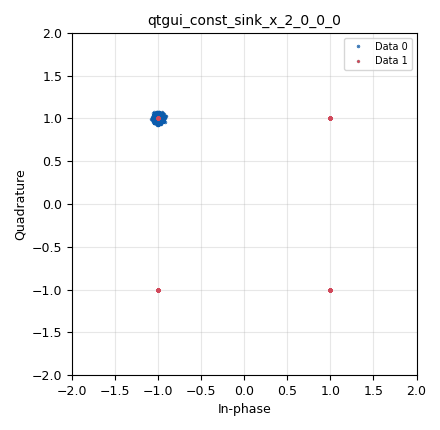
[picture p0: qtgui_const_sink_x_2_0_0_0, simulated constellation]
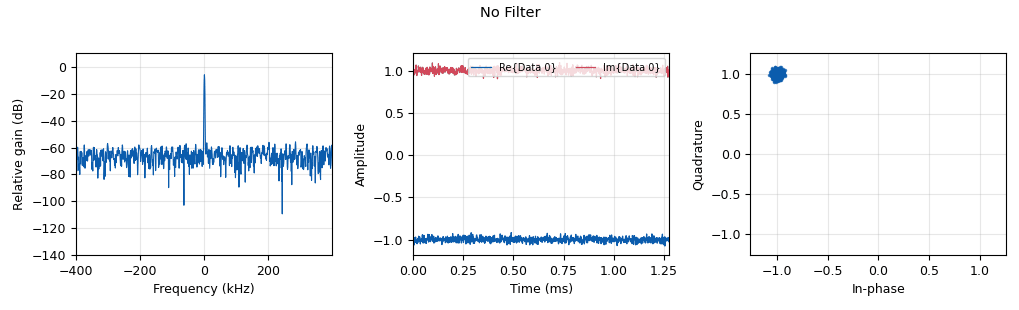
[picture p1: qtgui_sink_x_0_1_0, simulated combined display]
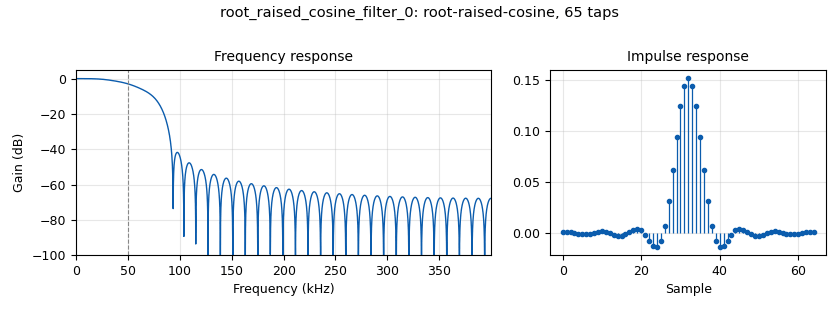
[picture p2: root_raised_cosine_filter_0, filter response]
options:
  parameters:
    author: ms
    generate_options: qt_gui
    id: QPSKDemo
    output_language: python
    title: QPSK demo
  states: {}

blocks:
- name: N_sample_symb
  id: variable
  parameters:
    value: '8'
  states: {}
- name: const_decode
  id: variable_constellation
  parameters:
    const_points: const_encode
    dims: '1'
    normalization: digital.constellation.AMPLITUDE_NORMALIZATION
    precision: '8'
    rot_sym: '2'
    sym_map: symbol_map_decode
    type: calcdist
  states: {}
- name: const_encode
  id: variable
  parameters:
    comment: QPSK
    value: (-1-1j, -1+1j, 1-1j, 1+1j)
  states: {}
- name: const_encode
  id: variable
  parameters:
    comment: 16-QAM
    value: '[(-1-1j), (-1-.33j), (-1+1j), (-1+.33j), (-.33-1j), (-.33-.33j), (-.33+1j), (-.33+.33j), (1-1j), (1-.33j), (1+1j), (1+.33j), (.33-1j), (.33-.33j), (.33+1j), (.33+.33j)]'
  states: {state: disabled}
- name: df
  id: variable_qtgui_range
  parameters:
    start: '-.05'
    step: '0.005'
    stop: '.05'
    value: '0.0'
  states: {}
- name: dp
  id: variable_qtgui_range
  parameters:
    start: '-1*cmath.pi'
    step: '0.1'
    stop: cmath.pi
    value: '0.0'
  states: {}
- name: nbr_bit_symbol
  id: variable
  parameters:
    comment: QPSK
    value: '2'
  states: {}
- name: nbr_bit_symbol
  id: variable
  parameters:
    comment: 16-QAM
    value: '4'
  states: {state: disabled}
- name: noise
  id: variable_qtgui_range
  parameters:
    start: '0'
    step: '0.005'
    stop: '1'
    value: '0.04'
  states: {}
- name: samp_rate
  id: variable
  parameters:
    value: '800000'
  states: {}
- name: send
  id: variable_qtgui_chooser
  parameters:
    gui_hint: 0,0,2,2
    label: Bytes send
    label0: '(0x0,0x0): 00000000 00000000'
    label1: '(0x55,0x55): 01010101 01010101'
    label2: '(0xAA,0xAA): 10101010 10101010'
    label3: '(0xFF,0xFF): 11111111 11111111'
    label4: random
    num_opts: '5'
    option0: (0,0)
    option1: (85,85)
    option2: (170,170)
    option3: (255,255)
    option4: '[random.randrange(0,255) for i in range(1000)]'
    type: raw
    value: (85,85)
    widget: radio_buttons
  states: {}
- name: symbol_map_decode
  id: variable
  parameters:
    comment: QPSK
    value: '[0, 1, 2, 3]'
  states: {}
- name: symbol_map_decode
  id: variable
  parameters:
    comment: 16-QAM
    value: '[0, 1, 2, 3, 4, 5, 6, 7, 8, 9, 10, 11, 12, 13, 14, 15]'
  states: {state: disabled}
- name: analog_noise_source_x_0
  id: analog_noise_source_x
  parameters:
    amp: noise
    noise_type: analog.GR_GAUSSIAN
    seed: '0'
    type: complex
  states: {}
- name: blocks_add_xx_0
  id: blocks_add_xx
  parameters:
    type: complex
  states: {}
- name: blocks_file_sink_0
  id: blocks_file_sink
  parameters:
    file: /home/murat/out.bin
    type: byte
  states: {state: disabled}
- name: blocks_null_sink_0
  id: blocks_null_sink
  parameters:
    type: byte
  states: {}
- name: blocks_pack_k_bits_bb_0
  id: blocks_pack_k_bits_bb
  parameters:
    k: '8'
  states: {}
- name: blocks_packed_to_unpacked_xx_0
  id: blocks_packed_to_unpacked_xx
  parameters:
    bits_per_chunk: nbr_bit_symbol
    endianness: gr.GR_MSB_FIRST
    type: byte
  states: {}
- name: blocks_repeat_0_0
  id: blocks_repeat
  parameters:
    interp: N_sample_symb
    type: complex
  states: {}
- name: blocks_throttle_0
  id: blocks_throttle
  parameters:
    samples_per_second: samp_rate
    type: byte
  states: {}
- name: blocks_uchar_to_float_0
  id: blocks_uchar_to_float
  parameters: {}
  states: {state: disabled}
- name: blocks_vector_source_x_0
  id: blocks_vector_source_x
  parameters:
    repeat: 'True'
    type: complex
    vector: const_encode
  states: {}
- name: blocks_vector_source_x_1_0
  id: blocks_vector_source_x
  parameters:
    repeat: 'True'
    type: byte
    vector: send
  states: {}
- name: digital_binary_slicer_fb_0
  id: digital_binary_slicer_fb
  parameters: {}
  states: {}
- name: digital_chunks_to_symbols_xx_0
  id: digital_chunks_to_symbols_xx
  parameters:
    dimension: '1'
    in_type: byte
    out_type: complex
    symbol_table: const_encode
  states: {}
- name: digital_constellation_soft_decoder_cf_0
  id: digital_constellation_soft_decoder_cf
  parameters:
    constellation: const_decode
    npwr: '-1'
  states: {}
- name: digital_costas_loop_cc_0
  id: digital_costas_loop_cc
  parameters:
    order: 2**nbr_bit_symbol
    w: '0.015'
  states: {}
- name: digital_symbol_sync_xx_0
  id: digital_symbol_sync_xx
  parameters:
    constellation: const_decode
    damping: '1.0'
    loop_bw: '0.45'
    max_dev: '1.5'
    osps: '1'
    resamp_type: digital.IR_MMSE_8TAP
    sps: N_sample_symb
    ted_gain: '1'
    ted_type: digital.TED_MUELLER_AND_MULLER
    type: cc
  states: {}
- name: freq_xlating_fir_filter_xxx_0
  id: freq_xlating_fir_filter_xxx
  parameters:
    center_freq: '-100e3'
    comment: Carrier 100kHz
    decim: '1'
    samp_rate: samp_rate
    taps: '1'
    type: ccc
  states: {}
- name: freq_xlating_fir_filter_xxx_1
  id: freq_xlating_fir_filter_xxx
  parameters:
    center_freq: 100e3+df
    comment: Baseband
    decim: '1'
    samp_rate: samp_rate
    taps: cmath.exp(1j*dp)
    type: ccc
  states: {}
- name: import_0
  id: import
  parameters:
    imports: import random
  states: {}
- name: import_0_0
  id: import
  parameters:
    imports: import cmath
  states: {}
- name: qtgui_const_sink_x_2_0_0
  id: qtgui_const_sink_x
  parameters:
    gui_hint: 0,2,2,4
    size: '1024'
    type: complex
  states: {state: disabled}
- name: qtgui_const_sink_x_2_0_0_0
  id: qtgui_const_sink_x
  parameters:
    gui_hint: 0,10,2,4
    nconnections: '2'
    size: '1024'
    type: complex
  states: {}
- name: qtgui_sink_x_0
  id: qtgui_sink_x
  parameters:
    bw: samp_rate
    fc: '0'
    fftsize: '1024'
    gui_hint: 0,2,2,4
    name: '"No Filter"'
    plotwaterfall: 'False'
    type: complex
  states: {}
- name: qtgui_sink_x_0_0
  id: qtgui_sink_x
  parameters:
    bw: samp_rate
    fc: '0'
    fftsize: '1024'
    gui_hint: 0,6,2,4
    name: '"Root raised Cosine Filter"'
    plotconst: 'False'
    plotwaterfall: 'False'
    type: complex
  states: {state: disabled}
- name: qtgui_sink_x_0_0_0
  id: qtgui_sink_x
  parameters:
    bw: samp_rate
    fc: '0'
    fftsize: '1024'
    gui_hint: 0,10,2,4
    name: ''
    plotconst: 'False'
    plotwaterfall: 'False'
    type: complex
  states: {state: disabled}
- name: qtgui_sink_x_0_1_0
  id: qtgui_sink_x
  parameters:
    bw: samp_rate
    fc: '0'
    fftsize: '1024'
    gui_hint: 0,6,2,4
    name: '"No Filter"'
    plotwaterfall: 'False'
    type: complex
  states: {}
- name: qtgui_time_sink_x_0
  id: qtgui_time_sink_x
  parameters:
    gui_hint: 0,2,2,4
    marker1: '0'
    size: '10'
    srate: samp_rate
    type: float
    ymax: '16'
    ymin: '0'
  states: {state: disabled}
- name: qtgui_time_sink_x_0_0
  id: qtgui_time_sink_x
  parameters:
    gui_hint: 0,6,2,4
    marker1: '1'
    marker2: '0'
    size: '10'
    srate: samp_rate
    type: complex
    ymax: '2'
    ymin: '-2'
  states: {state: disabled}
- name: root_raised_cosine_filter_0
  id: root_raised_cosine_filter
  parameters:
    alpha: '0.8'
    decim: '1'
    gain: '1.0'
    interp: '8'
    ntaps: '64'
    samp_rate: samp_rate
    sym_rate: 1/(N_sample_symb/samp_rate)
    type: fir_filter_ccf
  states: {}
- name: virtual_sink_0
  id: virtual_sink
  parameters:
    comment: transmission
    stream_id: transmission
  states: {}
- name: virtual_source_0
  id: virtual_source
  parameters:
    comment: Reception
    stream_id: transmission
  states: {}

connections:
- [analog_noise_source_x_0, '0', blocks_add_xx_0, '1']
- [blocks_add_xx_0, '0', qtgui_sink_x_0_0_0, '0']
- [blocks_add_xx_0, '0', virtual_sink_0, '0']
- [blocks_pack_k_bits_bb_0, '0', blocks_file_sink_0, '0']
- [blocks_pack_k_bits_bb_0, '0', blocks_null_sink_0, '0']
- [blocks_packed_to_unpacked_xx_0, '0', blocks_uchar_to_float_0, '0']
- [blocks_packed_to_unpacked_xx_0, '0', digital_chunks_to_symbols_xx_0, '0']
- [blocks_repeat_0_0, '0', qtgui_sink_x_0, '0']
- [blocks_repeat_0_0, '0', root_raised_cosine_filter_0, '0']
- [blocks_throttle_0, '0', blocks_packed_to_unpacked_xx_0, '0']
- [blocks_uchar_to_float_0, '0', qtgui_time_sink_x_0, '0']
- [blocks_vector_source_x_0, '0', qtgui_const_sink_x_2_0_0_0, '1']
- [blocks_vector_source_x_1_0, '0', blocks_throttle_0, '0']
- [digital_binary_slicer_fb_0, '0', blocks_pack_k_bits_bb_0, '0']
- [digital_chunks_to_symbols_xx_0, '0', blocks_repeat_0_0, '0']
- [digital_chunks_to_symbols_xx_0, '0', qtgui_const_sink_x_2_0_0, '0']
- [digital_chunks_to_symbols_xx_0, '0', qtgui_time_sink_x_0_0, '0']
- [digital_constellation_soft_decoder_cf_0, '0', digital_binary_slicer_fb_0, '0']
- [digital_costas_loop_cc_0, '0', digital_symbol_sync_xx_0, '0']
- [digital_symbol_sync_xx_0, '0', digital_constellation_soft_decoder_cf_0, '0']
- [digital_symbol_sync_xx_0, '0', qtgui_const_sink_x_2_0_0_0, '0']
- [freq_xlating_fir_filter_xxx_0, '0', blocks_add_xx_0, '0']
- [freq_xlating_fir_filter_xxx_1, '0', digital_costas_loop_cc_0, '0']
- [freq_xlating_fir_filter_xxx_1, '0', qtgui_sink_x_0_1_0, '0']
- [root_raised_cosine_filter_0, '0', freq_xlating_fir_filter_xxx_0, '0']
- [root_raised_cosine_filter_0, '0', qtgui_sink_x_0_0, '0']
- [virtual_source_0, '0', freq_xlating_fir_filter_xxx_1, '0']

metadata:
  file_format: 1
  grc_version: 3.10.9.2
